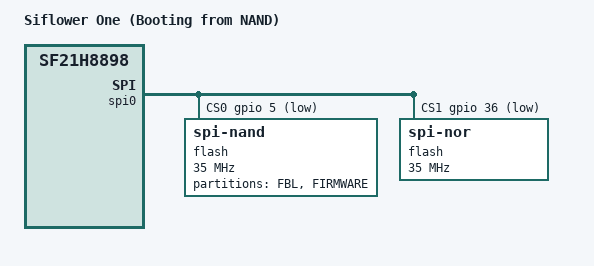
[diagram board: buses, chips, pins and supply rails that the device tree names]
// SPDX-License-Identifier: GPL-2.0

/dts-v1/;
#include "sf21h8898_siflower_one.dtsi"
/ {
	model = "Siflower One (Booting from NAND)";
	compatible = "siflower,one-nand", "siflower,sf21h8898";

	chosen {
		stdout-path = &uart1;
		tick-timer = &timer;
	};

};

&spi0 {
	status = "okay";
	num-cs = <2>;
	cs-gpios = <&gpio 5 GPIO_ACTIVE_LOW>, <&gpio 36 GPIO_ACTIVE_LOW>;

	flash@0 {
		compatible = "spi-nand";
		reg = <0>;
		spi-max-frequency = <35000000>;
		spi-tx-bus-width = <2>;
		spi-rx-bus-width = <2>;
		#address-cells = <1>;
		#size-cells = <1>;

		 partitions {
			compatible = "fixed-partitions";
			#address-cells = <1>;
			#size-cells = <1>;

			partition@0 {
				label = "FBL";
				reg = <0x0 0x20000>;
			};

			partition@20000 {
				label = "FIRMWARE";
				reg = <0x20000 0x7fe0000>;
			};
		};
	};

	flash@1 {
		compatible = "jedec,spi-nor";
		reg = <1>;
		spi-max-frequency = <35000000>;
		spi-tx-bus-width = <2>;
		spi-rx-bus-width = <2>;
		#address-cells = <1>;
		#size-cells = <1>;
	};
};
